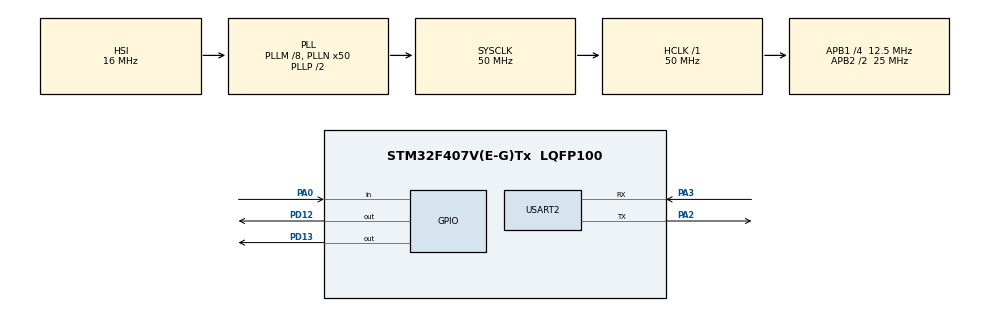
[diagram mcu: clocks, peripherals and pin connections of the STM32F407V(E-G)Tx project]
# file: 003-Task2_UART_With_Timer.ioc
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Mcu.Family=STM32F4
Mcu.Name=STM32F407V(E-G)Tx
Mcu.Package=LQFP100
NVIC.PriorityGroup=NVIC_PRIORITYGROUP_0
PA0-WKUP.Signal=GPIO_Input
PA2.Mode=Asynchronous
PA2.Signal=USART2_TX
PA3.Mode=Asynchronous
PA3.Signal=USART2_RX
PD12.Signal=GPIO_Output
PD13.Signal=GPIO_Output
ProjectManager.HeapSize=0x200
ProjectManager.StackSize=0x400
ProjectManager.TargetToolchain=STM32CubeIDE
RCC.48MHZClocksFreq_Value=14285714.285714285
RCC.AHBFreq_Value=50000000
RCC.APB1CLKDivider=RCC_HCLK_DIV4
RCC.APB1Freq_Value=12500000
RCC.APB1TimFreq_Value=25000000
RCC.APB2CLKDivider=RCC_HCLK_DIV2
RCC.APB2Freq_Value=25000000
RCC.APB2TimFreq_Value=50000000
RCC.CortexFreq_Value=50000000
RCC.HCLKFreq_Value=50000000
RCC.HSE_VALUE=8000000
RCC.HSI_VALUE=16000000
RCC.PLLM=8
RCC.PLLN=50
RCC.PLLQ=7
RCC.SYSCLKFreq_VALUE=50000000
RCC.SYSCLKSource=RCC_SYSCLKSOURCE_PLLCLK
RCC.VCOOutputFreq_Value=100000000
USART2.VirtualMode=VM_ASYNC
board=STM32F407G-DISC1

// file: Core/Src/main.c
/* USER CODE BEGIN Header */
/**
  ******************************************************************************
  * @file           : main.c
  * @brief          : Main program body
  ******************************************************************************
  * @attention
  *
  * Copyright (c) 2025 STMicroelectronics.
  * All rights reserved.
  *
  * This software is licensed under terms that can be found in the LICENSE file
  * in the root directory of this software component.
  * If no LICENSE file comes with this software, it is provided AS-IS.
  *
  ******************************************************************************
  */
/* USER CODE END Header */
#include "main.h"

/* USER CODE BEGIN Includes */
#include<string.h>
#include<stdio.h>
/* USER CODE END Includes */

UART_HandleTypeDef huart2;

void SystemClock_Config(void);
static void MX_GPIO_Init(void);
static void MX_USART2_UART_Init(void);

/* USER CODE BEGIN 0 */
uint32_t led_tick = 0;
uint32_t led_interval = 100; // ms

// Stopwatch variables
uint32_t start_time = 0;
uint8_t stopwatch_running = 0;

/* USER CODE END 0 */

int main(void)
{

  /* MCU Configuration--------------------------------------------------------*/

  /* Reset of all peripherals, Initializes the Flash interface and the Systick. */
  HAL_Init();

  /* Configure the system clock */
  SystemClock_Config();

  /* Initialize all configured peripherals */
  MX_GPIO_Init();
  MX_USART2_UART_Init();
  /* USER CODE BEGIN 2 */

  char msg[] = "System Init OK\r\nCommands:\r\n1=LED ON, 0=LED OFF\r\n";
  HAL_UART_Transmit(&huart2, (uint8_t*)msg, strlen(msg), HAL_MAX_DELAY);

  uint8_t rx;
  /* USER CODE END 2 */

  /* Infinite loop */
  /* USER CODE BEGIN WHILE */
  while (1)
  {

	  if (HAL_GetTick() - led_tick >= led_interval)
	  {
			HAL_GPIO_TogglePin(GPIOD, GPIO_PIN_13);
			led_tick = HAL_GetTick();
		}

		// UART Command
		if (HAL_UART_Receive(&huart2, &rx, 1, 10) == HAL_OK)
		{
			if (rx == '1')
			{
				HAL_GPIO_WritePin(GPIOD, GPIO_PIN_12, GPIO_PIN_SET);
				char onMsg[] = "LED ON\r\n";
				HAL_UART_Transmit(&huart2, (uint8_t*)onMsg, strlen(onMsg), HAL_MAX_DELAY);
			} else if (rx == '0')
			{
				HAL_GPIO_WritePin(GPIOD, GPIO_PIN_12, GPIO_PIN_RESET);
				char offMsg[] = "LED OFF\r\n";
				HAL_UART_Transmit(&huart2, (uint8_t*)offMsg, strlen(offMsg), HAL_MAX_DELAY);
			} else if (rx == 'f')
			{
				led_interval = 500; // Change blink rate
				char freqMsg[] = "LED frequency changed to 500ms\r\n";
				HAL_UART_Transmit(&huart2, (uint8_t*)freqMsg, strlen(freqMsg), HAL_MAX_DELAY);
			}
		}

		// Stopwatch with Button (PA0)
		if (HAL_GPIO_ReadPin(GPIOA, GPIO_PIN_0) == GPIO_PIN_SET)
		{
			HAL_Delay(50); // debounce
			while (HAL_GPIO_ReadPin(GPIOA, GPIO_PIN_0) == GPIO_PIN_SET); // wait release

			if (!stopwatch_running)
			{
				start_time = HAL_GetTick();
				stopwatch_running = 1;
				char swMsg[] = "Stopwatch Started\r\n";
				HAL_UART_Transmit(&huart2, (uint8_t*)swMsg, strlen(swMsg), HAL_MAX_DELAY);
			} else
			{
				uint32_t elapsed = HAL_GetTick() - start_time;
				stopwatch_running = 0;
				char buf[50];
				sprintf(buf, "Stopwatch Stopped. Time = %lu ms\r\n", elapsed);
				HAL_UART_Transmit(&huart2, (uint8_t*)buf, strlen(buf), HAL_MAX_DELAY);
			}
		}

    /* USER CODE END WHILE */

  }
}

void SystemClock_Config(void)
{
  RCC_OscInitTypeDef RCC_OscInitStruct = {0};
  RCC_ClkInitTypeDef RCC_ClkInitStruct = {0};

  /** Configure the main internal regulator output voltage
  */
  __HAL_RCC_PWR_CLK_ENABLE();
  __HAL_PWR_VOLTAGESCALING_CONFIG(PWR_REGULATOR_VOLTAGE_SCALE1);

  /** Initializes the RCC Oscillators according to the specified parameters
  * in the RCC_OscInitTypeDef structure.
  */
  RCC_OscInitStruct.OscillatorType = RCC_OSCILLATORTYPE_HSI;
  RCC_OscInitStruct.HSIState = RCC_HSI_ON;
  RCC_OscInitStruct.HSICalibrationValue = RCC_HSICALIBRATION_DEFAULT;
  RCC_OscInitStruct.PLL.PLLState = RCC_PLL_ON;
  RCC_OscInitStruct.PLL.PLLSource = RCC_PLLSOURCE_HSI;
  RCC_OscInitStruct.PLL.PLLM = 8;
  RCC_OscInitStruct.PLL.PLLN = 50;
  RCC_OscInitStruct.PLL.PLLP = RCC_PLLP_DIV2;
  RCC_OscInitStruct.PLL.PLLQ = 7;
  if (HAL_RCC_OscConfig(&RCC_OscInitStruct) != HAL_OK)
  {
    Error_Handler();
  }

  /** Initializes the CPU, AHB and APB buses clocks
  */
  RCC_ClkInitStruct.ClockType = RCC_CLOCKTYPE_HCLK|RCC_CLOCKTYPE_SYSCLK
                              |RCC_CLOCKTYPE_PCLK1|RCC_CLOCKTYPE_PCLK2;
  RCC_ClkInitStruct.SYSCLKSource = RCC_SYSCLKSOURCE_PLLCLK;
  RCC_ClkInitStruct.AHBCLKDivider = RCC_SYSCLK_DIV1;
  RCC_ClkInitStruct.APB1CLKDivider = RCC_HCLK_DIV4;
  RCC_ClkInitStruct.APB2CLKDivider = RCC_HCLK_DIV2;

  if (HAL_RCC_ClockConfig(&RCC_ClkInitStruct, FLASH_LATENCY_1) != HAL_OK)
  {
    Error_Handler();
  }
}

static void MX_USART2_UART_Init(void)
{

  huart2.Instance = USART2;
  huart2.Init.BaudRate = 115200;
  huart2.Init.WordLength = UART_WORDLENGTH_8B;
  huart2.Init.StopBits = UART_STOPBITS_1;
  huart2.Init.Parity = UART_PARITY_NONE;
  huart2.Init.Mode = UART_MODE_TX_RX;
  huart2.Init.HwFlowCtl = UART_HWCONTROL_NONE;
  huart2.Init.OverSampling = UART_OVERSAMPLING_16;
  if (HAL_UART_Init(&huart2) != HAL_OK)
  {
    Error_Handler();
  }

}

static void MX_GPIO_Init(void)
{
  GPIO_InitTypeDef GPIO_InitStruct = {0};

  /* GPIO Ports Clock Enable */
  __HAL_RCC_GPIOA_CLK_ENABLE();
  __HAL_RCC_GPIOD_CLK_ENABLE();

  /*Configure GPIO pin Output Level */
  HAL_GPIO_WritePin(GPIOD, GPIO_PIN_12|GPIO_PIN_13, GPIO_PIN_RESET);

  /*Configure GPIO pin : PA0 */
  GPIO_InitStruct.Pin = GPIO_PIN_0;
  GPIO_InitStruct.Mode = GPIO_MODE_INPUT;
  GPIO_InitStruct.Pull = GPIO_NOPULL;
  HAL_GPIO_Init(GPIOA, &GPIO_InitStruct);

  /*Configure GPIO pins : PD12 PD13 */
  GPIO_InitStruct.Pin = GPIO_PIN_12|GPIO_PIN_13;
  GPIO_InitStruct.Mode = GPIO_MODE_OUTPUT_PP;
  GPIO_InitStruct.Pull = GPIO_NOPULL;
  GPIO_InitStruct.Speed = GPIO_SPEED_FREQ_LOW;
  HAL_GPIO_Init(GPIOD, &GPIO_InitStruct);

}

void Error_Handler(void)
{
  __disable_irq();
  while (1)
  {
  }
}
